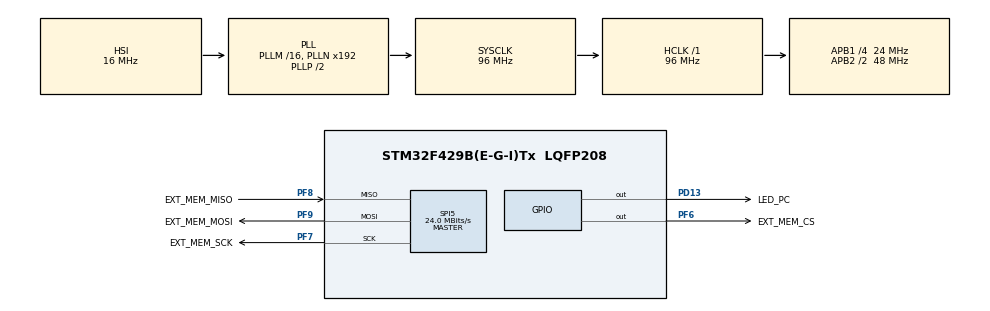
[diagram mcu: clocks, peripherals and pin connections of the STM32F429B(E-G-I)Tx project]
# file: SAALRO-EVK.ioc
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Mcu.Family=STM32F4
Mcu.Name=STM32F429B(E-G-I)Tx
Mcu.Package=LQFP208
NVIC.PriorityGroup=NVIC_PRIORITYGROUP_4
PA13.Signal=SYS_JTMS-SWDIO
PA14.Signal=SYS_JTCK-SWCLK
PC14/OSC32_IN.Signal=RCC_OSC32_IN
PC15/OSC32_OUT.Signal=RCC_OSC32_OUT
PD13.GPIO_Label=LED_PC
PD13.Signal=GPIO_Output
PF6.GPIO_Label=EXT_MEM_CS
PF6.Signal=GPIO_Output
PF7.GPIO_Label=EXT_MEM_SCK
PF7.Mode=Full_Duplex_Master
PF7.Signal=SPI5_SCK
PF8.GPIO_Label=EXT_MEM_MISO
PF8.Mode=Full_Duplex_Master
PF8.Signal=SPI5_MISO
PF9.GPIO_Label=EXT_MEM_MOSI
PF9.Mode=Full_Duplex_Master
PF9.Signal=SPI5_MOSI
PH0/OSC_IN.Signal=RCC_OSC_IN
PH1/OSC_OUT.Signal=RCC_OSC_OUT
ProjectManager.HeapSize=0x200
ProjectManager.StackSize=0x400
ProjectManager.TargetToolchain=STM32CubeIDE
RCC.AHBFreq_Value=96000000
RCC.APB1CLKDivider=RCC_HCLK_DIV4
RCC.APB1Freq_Value=24000000
RCC.APB1TimFreq_Value=48000000
RCC.APB2CLKDivider=RCC_HCLK_DIV2
RCC.APB2Freq_Value=48000000
RCC.APB2TimFreq_Value=96000000
RCC.CortexFreq_Value=96000000
RCC.HCLKFreq_Value=96000000
RCC.HSE_VALUE=25000000
RCC.HSI_VALUE=16000000
RCC.LSE_VALUE=32768
RCC.SYSCLKFreq_VALUE=96000000
RCC.SYSCLKSource=RCC_SYSCLKSOURCE_PLLCLK
RCC.VCOOutputFreq_Value=192000000
SPI5.BaudRatePrescaler=SPI_BAUDRATEPRESCALER_2
SPI5.CalculateBaudRate=24.0 MBits/s
SPI5.Direction=SPI_DIRECTION_2LINES
SPI5.Mode=SPI_MODE_MASTER
SPI5.VirtualType=VM_MASTER
board=custom

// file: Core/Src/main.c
/* USER CODE BEGIN Header */
/**
  ******************************************************************************
  * @file           : main.c
  * @brief          : Main program body
  ******************************************************************************
  * @attention
  *
  * Copyright (c) 2023 STMicroelectronics.
  * All rights reserved.
  *
  * This software is licensed under terms that can be found in the LICENSE file
  * in the root directory of this software component.
  * If no LICENSE file comes with this software, it is provided AS-IS.
  *
  ******************************************************************************
  */
/* USER CODE END Header */
//#include "main.h"

/* USER CODE BEGIN Includes */
//#include "lfs.h"
#include "flash_mem.h"

/* USER CODE END Includes */

SPI_HandleTypeDef hspi5;

void SystemClock_Config(void);
static void MX_GPIO_Init(void);
static void MX_SPI5_Init(void);

int main(void)
{

  /* MCU Configuration--------------------------------------------------------*/

  /* Reset of all peripherals, Initializes the Flash interface and the Systick. */
  HAL_Init();

  /* Configure the system clock */
  SystemClock_Config();

  /* Initialize all configured peripherals */
  MX_GPIO_Init();
  MX_SPI5_Init();
  /* USER CODE BEGIN 2 */
  lfs_t Disk;
  lfs_file_t file;
  uint8_t lfs_read_buf[256];
  uint8_t lfs_prog_buf[256];
  uint8_t lfs_lookahead_buf[256];  // 256/8=32
  uint8_t lfs_file_buf[256];

  const struct lfs_config cfg =
  {
  		.read = block_device_read,
  		.prog = block_device_prog,
  		.erase = block_device_erase,
  		.sync = block_device_sync,

  	    // block device configuration
  	    .read_size = 256,
  	    .prog_size = 256,
  	    .block_size = 4096,
  	    .block_count = 4096,
  	    .cache_size = 256,
  	    .lookahead_size = 256,
  	    .block_cycles = 500,
        .read_buffer = lfs_read_buf,
		    .prog_buffer = lfs_prog_buf,
		    .lookahead_buffer = lfs_lookahead_buf
  };

  int err = lfs_mount(&Disk, &cfg);

  // reformat if we can't mount the filesystem
  // this should only happen on the first boot
  if (err) {
      lfs_format(&Disk, &cfg);
      lfs_mount(&Disk, &cfg);
  }
  // read current count
	uint32_t boot_count = 0;
	lfs_file_open(&Disk, &file, "boot_count", LFS_O_RDWR | LFS_O_CREAT);
	lfs_file_read(&Disk, &file, &boot_count, sizeof(boot_count));

	// update boot count
	boot_count += 1;
	lfs_file_rewind(&Disk, &file);
	lfs_file_write(&Disk, &file, &boot_count, sizeof(boot_count));

	// remember the storage is not updated until the file is closed successfully
	lfs_file_close(&Disk, &file);

	// release any resources we were using
	// lfs_unmount(&Disk);
  /* USER CODE END 2 */

  /* Infinite loop */
  /* USER CODE BEGIN WHILE */
  while (1)
  {
    lfs_file_open(&Disk, &file, "boot_count", LFS_O_RDWR);
	  lfs_file_read(&Disk, &file, &boot_count, sizeof(boot_count));
    lfs_file_close(&Disk, &file);
    lfs_unmount(&Disk);
    /* USER CODE END WHILE */

  }
}

void SystemClock_Config(void)
{
  RCC_OscInitTypeDef RCC_OscInitStruct = {0};
  RCC_ClkInitTypeDef RCC_ClkInitStruct = {0};

  /** Configure the main internal regulator output voltage
  */
  __HAL_RCC_PWR_CLK_ENABLE();
  __HAL_PWR_VOLTAGESCALING_CONFIG(PWR_REGULATOR_VOLTAGE_SCALE3);

  /** Initializes the RCC Oscillators according to the specified parameters
  * in the RCC_OscInitTypeDef structure.
  */
  RCC_OscInitStruct.OscillatorType = RCC_OSCILLATORTYPE_HSI;
  RCC_OscInitStruct.HSIState = RCC_HSI_ON;
  RCC_OscInitStruct.HSICalibrationValue = RCC_HSICALIBRATION_DEFAULT;
  RCC_OscInitStruct.PLL.PLLState = RCC_PLL_ON;
  RCC_OscInitStruct.PLL.PLLSource = RCC_PLLSOURCE_HSI;
  RCC_OscInitStruct.PLL.PLLM = 16;
  RCC_OscInitStruct.PLL.PLLN = 192;
  RCC_OscInitStruct.PLL.PLLP = RCC_PLLP_DIV2;
  RCC_OscInitStruct.PLL.PLLQ = 4;
  if (HAL_RCC_OscConfig(&RCC_OscInitStruct) != HAL_OK)
  {
    Error_Handler();
  }

  /** Initializes the CPU, AHB and APB buses clocks
  */
  RCC_ClkInitStruct.ClockType = RCC_CLOCKTYPE_HCLK|RCC_CLOCKTYPE_SYSCLK
                              |RCC_CLOCKTYPE_PCLK1|RCC_CLOCKTYPE_PCLK2;
  RCC_ClkInitStruct.SYSCLKSource = RCC_SYSCLKSOURCE_PLLCLK;
  RCC_ClkInitStruct.AHBCLKDivider = RCC_SYSCLK_DIV1;
  RCC_ClkInitStruct.APB1CLKDivider = RCC_HCLK_DIV4;
  RCC_ClkInitStruct.APB2CLKDivider = RCC_HCLK_DIV2;

  if (HAL_RCC_ClockConfig(&RCC_ClkInitStruct, FLASH_LATENCY_3) != HAL_OK)
  {
    Error_Handler();
  }
}

static void MX_SPI5_Init(void)
{

  /* SPI5 parameter configuration*/
  hspi5.Instance = SPI5;
  hspi5.Init.Mode = SPI_MODE_MASTER;
  hspi5.Init.Direction = SPI_DIRECTION_2LINES;
  hspi5.Init.DataSize = SPI_DATASIZE_8BIT;
  hspi5.Init.CLKPolarity = SPI_POLARITY_LOW;
  hspi5.Init.CLKPhase = SPI_PHASE_1EDGE;
  hspi5.Init.NSS = SPI_NSS_SOFT;
  hspi5.Init.BaudRatePrescaler = SPI_BAUDRATEPRESCALER_2;
  hspi5.Init.FirstBit = SPI_FIRSTBIT_MSB;
  hspi5.Init.TIMode = SPI_TIMODE_DISABLE;
  hspi5.Init.CRCCalculation = SPI_CRCCALCULATION_DISABLE;
  hspi5.Init.CRCPolynomial = 10;
  if (HAL_SPI_Init(&hspi5) != HAL_OK)
  {
    Error_Handler();
  }

}

static void MX_GPIO_Init(void)
{
  GPIO_InitTypeDef GPIO_InitStruct = {0};

  /* GPIO Ports Clock Enable */
  __HAL_RCC_GPIOC_CLK_ENABLE();
  __HAL_RCC_GPIOF_CLK_ENABLE();
  __HAL_RCC_GPIOH_CLK_ENABLE();
  __HAL_RCC_GPIOD_CLK_ENABLE();
  __HAL_RCC_GPIOA_CLK_ENABLE();

  /*Configure GPIO pin Output Level */
  HAL_GPIO_WritePin(EXT_MEM_CS_GPIO_Port, EXT_MEM_CS_Pin, GPIO_PIN_RESET);

  /*Configure GPIO pin Output Level */
  HAL_GPIO_WritePin(LED_PC_GPIO_Port, LED_PC_Pin, GPIO_PIN_RESET);

  /*Configure GPIO pin : EXT_MEM_CS_Pin */
  GPIO_InitStruct.Pin = EXT_MEM_CS_Pin;
  GPIO_InitStruct.Mode = GPIO_MODE_OUTPUT_PP;
  GPIO_InitStruct.Pull = GPIO_NOPULL;
  GPIO_InitStruct.Speed = GPIO_SPEED_FREQ_LOW;
  HAL_GPIO_Init(EXT_MEM_CS_GPIO_Port, &GPIO_InitStruct);

  /*Configure GPIO pin : LED_PC_Pin */
  GPIO_InitStruct.Pin = LED_PC_Pin;
  GPIO_InitStruct.Mode = GPIO_MODE_OUTPUT_PP;
  GPIO_InitStruct.Pull = GPIO_NOPULL;
  GPIO_InitStruct.Speed = GPIO_SPEED_FREQ_LOW;
  HAL_GPIO_Init(LED_PC_GPIO_Port, &GPIO_InitStruct);

}

void Error_Handler(void)
{
  __disable_irq();
  while (1)
  {
  }
}
